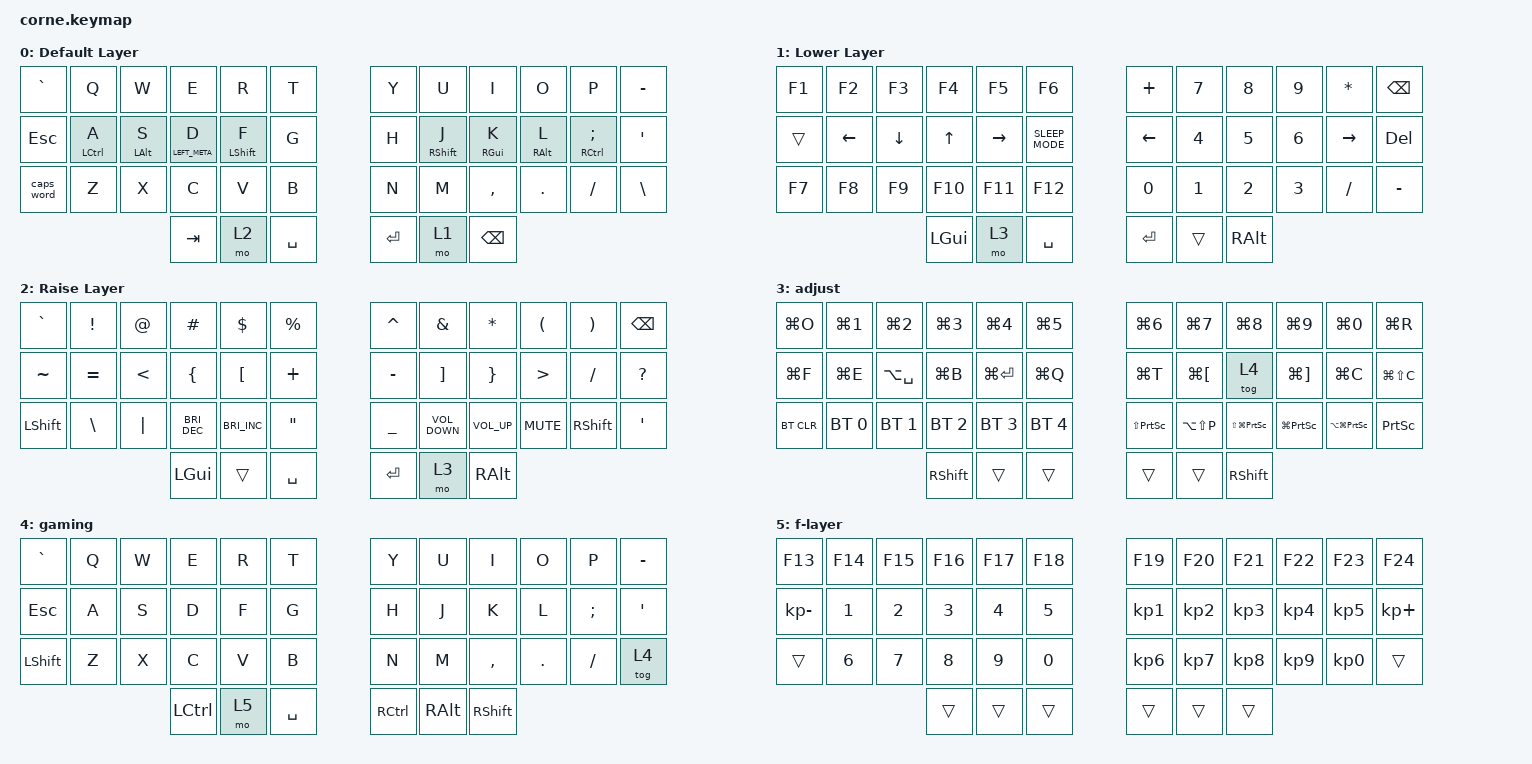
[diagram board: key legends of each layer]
/*
 * Copyright (c) 2020 The ZMK Contributors
 *
 * SPDX-License-Identifier: MIT
 */

#include <behaviors.dtsi>
#include <dt-bindings/zmk/bt.h>
#include <dt-bindings/zmk/keys.h>

/ {
    behaviors {
        hrm_l: hrm_l {
            compatible = "zmk,behavior-hold-tap";
            label = "HRM_L";
            bindings = <&kp>, <&kp>;

            #binding-cells = <2>;
            tapping-term-ms = <200>;
            quick-tap-ms = <175>;
            require-prior-idle-ms = <150>;
            flavor = "balanced";
            hold-trigger-key-positions = <35 23 11 10 22 34 33 21 9 8 20 32 31 19 7 6 18 30 39 40 41>;
            retro-tap;
        };

        hrm_r: hrm_r {
            compatible = "zmk,behavior-hold-tap";
            label = "HRM_R";
            bindings = <&kp>, <&kp>;

            #binding-cells = <2>;
            tapping-term-ms = <200>;
            quick-tap-ms = <175>;
            require-prior-idle-ms = <150>;
            flavor = "balanced";
            hold-trigger-key-positions = <0 1 2 2 3 3 4 4 5 5 12 13 14 15 16 17 24 25 26 27 28 29 36 38 37>;
            retro-tap;
        };
    };

    keymap {
        compatible = "zmk,keymap";

        default_layer {
            display-name = "Default Layer";

            // -----------------------------------------------------------------------------------------
            // |  TAB |  Q  |  W  |  E  |  R  |  T  |   |  Y  |  U   |  I  |  O  |  P  | BSPC |
            // | CTRL |  A  |  S  |  D  |  F  |  G  |   |  H  |  J   |  K  |  L  |  ;  |  '   |
            // | SHFT |  Z  |  X  |  C  |  V  |  B  |   |  N  |  M   |  ,  |  .  |  /  | ESC  |
            //                    | GUI | LWR | SPC |   | ENT | RSE  | ALT |

            bindings = <
&kp GRAVE   &kp Q                  &kp W              &kp E               &kp R                &kp T        &kp Y    &kp U                 &kp I               &kp O               &kp P                           &kp MINUS
&kp ESC     &hrm_l LEFT_CONTROL A  &hrm_l LEFT_ALT S  &hrm_l LEFT_META D  &hrm_l LEFT_SHIFT F  &kp G        &kp H    &hrm_r RIGHT_SHIFT J  &hrm_r RIGHT_GUI K  &hrm_r RIGHT_ALT L  &hrm_r RIGHT_CONTROL SEMICOLON  &kp SQT
&caps_word  &kp Z                  &kp X              &kp C               &kp V                &kp B        &kp N    &kp M                 &kp COMMA           &kp DOT             &kp FSLH                        &kp BACKSLASH
                                                      &kp TAB             &mo 2                &kp SPACE    &kp RET  &mo 1                 &kp BACKSPACE
            >;
        };

        lower_layer {
            display-name = "Lower Layer";

            // -----------------------------------------------------------------------------------------
            // |  TAB |  1  |  2  |  3  |  4  |  5  |   |  6  |  7  |  8  |  9  |  0  | BSPC |
            // | BTCLR| BT1 | BT2 | BT3 | BT4 | BT5 |   | LFT | DWN |  UP | RGT |     |      |
            // | SHFT |     |     |     |     |     |   |     |     |     |     |     |      |
            //                    | GUI |     | SPC |   | ENT |     | ALT |

            bindings = <
&kp F1  &kp F2          &kp F3    &kp F4        &kp F5           &kp F6              &kp PLUS   &kp N7  &kp N8    &kp N9  &kp STAR   &kp BACKSPACE
&trans  &kp LEFT_ARROW  &kp DOWN  &kp UP        &kp RIGHT_ARROW  &kp C_SLEEP_MODE    &kp LEFT   &kp N4  &kp N5    &kp N6  &kp RIGHT  &kp DEL
&kp F7  &kp F8          &kp F9    &kp F10       &kp F11          &kp F12             &kp N0     &kp N1  &kp N2    &kp N3  &kp SLASH  &kp MINUS
                                  &kp LEFT_GUI  &mo 3            &kp SPACE           &kp ENTER  &trans  &kp RALT
            >;
        };

        raise_layer {
            display-name = "Raise Layer";

            // -----------------------------------------------------------------------------------------
            // |  TAB |  !  |  @  |  #  |  $  |  %  |   |  ^  |  &  |  *  |  (  |  )  | BSPC |
            // | CTRL |     |     |     |     |     |   |  -  |  =  |  [  |  ]  |  \  |  `   |
            // | SHFT |     |     |     |     |     |   |  _  |  +  |  {  |  }  | "|" |  ~   |
            //                    | GUI |     | SPC |   | ENT |     | ALT |

            bindings = <
&kp GRAVE  &kp EXCL       &kp AT         &kp HASH              &kp DLLR              &kp PRCNT            &kp CARET  &kp AMPS           &kp ASTRK        &kp LPAR          &kp RPAR         &kp BSPC
&kp TILDE  &kp EQUAL      &kp LESS_THAN  &kp LEFT_BRACE        &kp LEFT_BRACKET      &kp PLUS             &kp MINUS  &kp RIGHT_BRACKET  &kp RIGHT_BRACE  &kp GREATER_THAN  &kp SLASH        &kp QUESTION
&kp LSHFT  &kp BACKSLASH  &kp PIPE       &kp C_BRIGHTNESS_DEC  &kp C_BRIGHTNESS_INC  &kp DOUBLE_QUOTES    &kp UNDER  &kp C_VOLUME_DOWN  &kp C_VOLUME_UP  &kp K_MUTE        &kp RIGHT_SHIFT  &kp SQT
                                         &kp LGUI              &trans                &kp SPACE            &kp ENTER  &mo 3              &kp RALT
            >;
        };

        adjust {
            bindings = <
&kp LG(O)   &kp LG(N1)    &kp LG(N2)     &kp LG(N3)       &kp LG(N4)     &kp LG(N5)      &kp LG(NUMBER_6)     &kp LG(N7)            &kp LG(N8)               &kp LG(N9)             &kp LG(N0)               &kp LG(R)
&kp LG(F)   &kp LG(E)     &kp LA(SPACE)  &kp LG(B)        &kp LG(ENTER)  &kp LG(Q)       &kp LG(T)            &kp LG(LEFT_BRACKET)  &tog 4                   &kp LG(RIGHT_BRACKET)  &kp LG(C)                &kp LG(LS(C))
&bt BT_CLR  &bt BT_SEL 0  &bt BT_SEL 1   &bt BT_SEL 2     &bt BT_SEL 3   &bt BT_SEL 4    &kp LS(PRINTSCREEN)  &kp LA(LS(P))         &kp LS(LG(PRINTSCREEN))  &kp LG(PRINTSCREEN)    &kp LA(LG(PRINTSCREEN))  &kp PRINTSCREEN
                                         &kp RIGHT_SHIFT  &trans         &trans          &trans               &trans                &kp RIGHT_SHIFT
            >;
        };

        gaming {
            bindings = <
&kp GRAVE       &kp Q  &kp W  &kp E      &kp R  &kp T        &kp Y              &kp U          &kp I            &kp O    &kp P     &kp MINUS
&kp ESC         &kp A  &kp S  &kp D      &kp F  &kp G        &kp H              &kp J          &kp K            &kp L    &kp SEMI  &kp SQT
&kp LEFT_SHIFT  &kp Z  &kp X  &kp C      &kp V  &kp B        &kp N              &kp M          &kp COMMA        &kp DOT  &kp FSLH  &tog 4
                              &kp LCTRL  &mo 5  &kp SPACE    &kp RIGHT_CONTROL  &kp RIGHT_ALT  &kp RIGHT_SHIFT
            >;
        };

        f-layer {
            bindings = <
&kp F13       &kp F14  &kp F15  &kp F16  &kp F17  &kp F18    &kp F19    &kp F20    &kp F21    &kp F22    &kp F23    &kp F24
&kp KP_MINUS  &kp N1   &kp N2   &kp N3   &kp N4   &kp N5     &kp KP_N1  &kp KP_N2  &kp KP_N3  &kp KP_N4  &kp KP_N5  &kp KP_PLUS
&trans        &kp N6   &kp N7   &kp N8   &kp N9   &kp N0     &kp KP_N6  &kp KP_N7  &kp KP_N8  &kp KP_N9  &kp KP_N0  &trans
                                &trans   &trans   &trans     &trans     &trans     &trans
            >;
        };
    };
};
